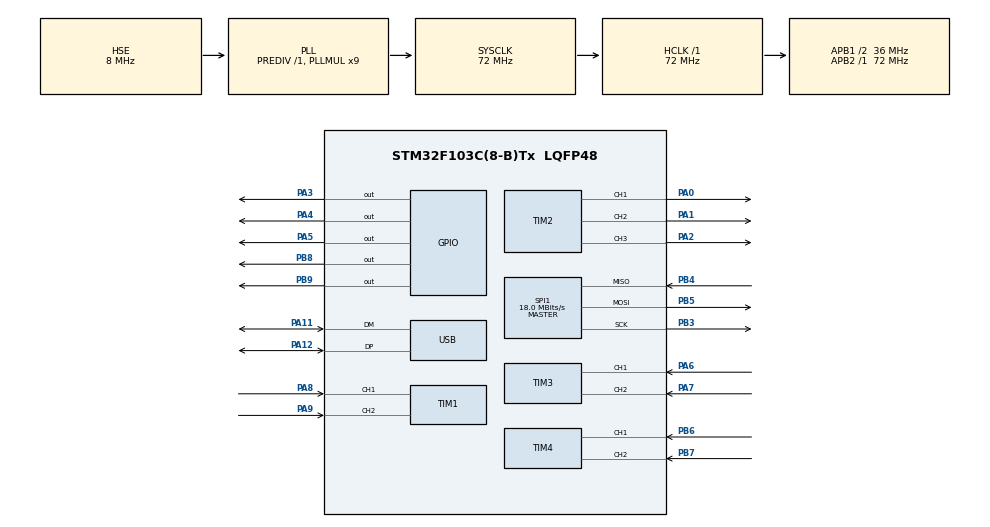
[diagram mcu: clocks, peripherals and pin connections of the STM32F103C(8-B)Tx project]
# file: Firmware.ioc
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Mcu.Family=STM32F1
Mcu.Name=STM32F103C(8-B)Tx
Mcu.Package=LQFP48
NVIC.PriorityGroup=NVIC_PRIORITYGROUP_4
NVIC.SPI1_IRQn=true\:0\:0\:false\:false\:true\:true\:true
NVIC.USB_LP_CAN1_RX0_IRQn=true\:0\:0\:false\:false\:true\:false\:true
PA0-WKUP.Signal=S_TIM2_CH1_ETR
PA1.Signal=S_TIM2_CH2
PA11.Mode=Device
PA11.Signal=USB_DM
PA12.Mode=Device
PA12.Signal=USB_DP
PA13.Mode=Serial_Wire
PA13.Signal=SYS_JTMS-SWDIO
PA14.Mode=Serial_Wire
PA14.Signal=SYS_JTCK-SWCLK
PA2.Signal=S_TIM2_CH3
PA3.Signal=GPIO_Output
PA4.Signal=GPIO_Output
PA5.Signal=GPIO_Output
PA6.Signal=S_TIM3_CH1
PA7.Signal=S_TIM3_CH2
PA8.Signal=S_TIM1_CH1
PA9.Signal=S_TIM1_CH2
PB3.Mode=Full_Duplex_Master
PB3.Signal=SPI1_SCK
PB4.Mode=Full_Duplex_Master
PB4.Signal=SPI1_MISO
PB5.Mode=Full_Duplex_Master
PB5.Signal=SPI1_MOSI
PB6.Signal=S_TIM4_CH1
PB7.Signal=S_TIM4_CH2
PB8.Signal=GPIO_Output
PB9.Signal=GPIO_Output
PD0-OSC_IN.Mode=HSE-External-Oscillator
PD0-OSC_IN.Signal=RCC_OSC_IN
PD1-OSC_OUT.Mode=HSE-External-Oscillator
PD1-OSC_OUT.Signal=RCC_OSC_OUT
ProjectManager.HeapSize=0x200
ProjectManager.StackSize=0x400
ProjectManager.TargetToolchain=Makefile
RCC.AHBFreq_Value=72000000
RCC.APB1CLKDivider=RCC_HCLK_DIV2
RCC.APB1Freq_Value=36000000
RCC.APB1TimFreq_Value=72000000
RCC.APB2Freq_Value=72000000
RCC.APB2TimFreq_Value=72000000
RCC.HCLKFreq_Value=72000000
RCC.PLLMUL=RCC_PLL_MUL9
RCC.PLLSourceVirtual=RCC_PLLSOURCE_HSE
RCC.SYSCLKFreq_VALUE=72000000
RCC.SYSCLKSource=RCC_SYSCLKSOURCE_PLLCLK
RCC.USBFreq_Value=48000000
RCC.USBPrescaler=RCC_USBCLKSOURCE_PLL_DIV1_5
SH.S_TIM1_CH1.0=TIM1_CH1,Encoder_Interface
SH.S_TIM1_CH2.0=TIM1_CH2,Encoder_Interface
SH.S_TIM2_CH1_ETR.0=TIM2_CH1,PWM Generation1 CH1
SH.S_TIM2_CH2.0=TIM2_CH2,PWM Generation2 CH2
SH.S_TIM2_CH3.0=TIM2_CH3,PWM Generation3 CH3
SH.S_TIM3_CH1.0=TIM3_CH1,Encoder_Interface
SH.S_TIM3_CH2.0=TIM3_CH2,Encoder_Interface
SH.S_TIM4_CH1.0=TIM4_CH1,Encoder_Interface
SH.S_TIM4_CH2.0=TIM4_CH2,Encoder_Interface
SPI1.BaudRatePrescaler=SPI_BAUDRATEPRESCALER_4
SPI1.CalculateBaudRate=18.0 MBits/s
SPI1.Direction=SPI_DIRECTION_2LINES
SPI1.Mode=SPI_MODE_MASTER
SPI1.VirtualType=VM_MASTER
TIM2.Channel-PWM\ Generation1\ CH1=TIM_CHANNEL_1
TIM2.Channel-PWM\ Generation2\ CH2=TIM_CHANNEL_2
TIM2.Channel-PWM\ Generation3\ CH3=TIM_CHANNEL_3
USB_DEVICE.APP_RX_DATA_SIZE=64
USB_DEVICE.APP_TX_DATA_SIZE=64
USB_DEVICE.CLASS_NAME_FS=CDC
USB_DEVICE.VirtualMode=Cdc
USB_DEVICE.VirtualModeFS=Cdc_FS
VP_TIM2_VS_ClockSourceINT.Mode=Internal
VP_USB_DEVICE_VS_USB_DEVICE_CDC_FS.Mode=CDC_FS
board=custom

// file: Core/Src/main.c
/* USER CODE BEGIN Header */
/**
  ******************************************************************************
  * @file           : main.c
  * @brief          : Main program body
  ******************************************************************************
  * @attention
  *
  * Copyright (c) 2023 STMicroelectronics.
  * All rights reserved.
  *
  * This software is licensed under terms that can be found in the LICENSE file
  * in the root directory of this software component.
  * If no LICENSE file comes with this software, it is provided AS-IS.
  *
  ******************************************************************************
  */
/* USER CODE END Header */
#include "main.h"
#include "usb_device.h"

/* USER CODE BEGIN Includes */
#include "auto_park.h"

/* USER CODE END Includes */

SPI_HandleTypeDef hspi1;

TIM_HandleTypeDef htim1;
TIM_HandleTypeDef htim2;
TIM_HandleTypeDef htim3;
TIM_HandleTypeDef htim4;

/* USER CODE BEGIN PV */
MACHINE machine;

/* USER CODE END PV */

void SystemClock_Config(void);
static void MX_GPIO_Init(void);
static void MX_TIM1_Init(void);
static void MX_TIM2_Init(void);
static void MX_TIM3_Init(void);
static void MX_TIM4_Init(void);
static void MX_SPI1_Init(void);
/* USER CODE BEGIN PFP */
void auto_park_init(void)
{
	// Init value for pid of motor
	machine.up.pid.kp = 1;
	machine.up.pid.ki = 0.001;
	machine.up.pid.kd = 0.1;
	machine.up.pid.ERROR = 2;

	machine.roll.pid.kp = 1;
	machine.roll.pid.ki = 0.001;
	machine.roll.pid.kd = 0.1;
	machine.roll.pid.ERROR = 2;

	machine.out.pid.kp = 1;
	machine.out.pid.ki = 0.001;
	machine.out.pid.kd = 0.1;
	machine.out.pid.ERROR = 2;

	// Init pin for motor

	// Init other value of machine
	machine.mode = 7; // mode go home when restart
}
/* USER CODE END PFP */

int main(void)
{

  /* MCU Configuration--------------------------------------------------------*/

  /* Reset of all peripherals, Initializes the Flash interface and the Systick. */
  HAL_Init();

  /* Configure the system clock */
  SystemClock_Config();

  /* Initialize all configured peripherals */
  MX_GPIO_Init();
  MX_TIM1_Init();
  MX_TIM2_Init();
  MX_TIM3_Init();
  MX_TIM4_Init();
  MX_SPI1_Init();
  MX_USB_DEVICE_Init();
  /* USER CODE BEGIN 2 */
  auto_park_init();

  /* USER CODE END 2 */

  /* Infinite loop */
  /* USER CODE BEGIN WHILE */
  while (1)
  {
	process_mode(&machine);
    /* USER CODE END WHILE */

  }
}

void SystemClock_Config(void)
{
  RCC_OscInitTypeDef RCC_OscInitStruct = {0};
  RCC_ClkInitTypeDef RCC_ClkInitStruct = {0};
  RCC_PeriphCLKInitTypeDef PeriphClkInit = {0};

  /** Initializes the RCC Oscillators according to the specified parameters
  * in the RCC_OscInitTypeDef structure.
  */
  RCC_OscInitStruct.OscillatorType = RCC_OSCILLATORTYPE_HSE;
  RCC_OscInitStruct.HSEState = RCC_HSE_ON;
  RCC_OscInitStruct.HSEPredivValue = RCC_HSE_PREDIV_DIV1;
  RCC_OscInitStruct.HSIState = RCC_HSI_ON;
  RCC_OscInitStruct.PLL.PLLState = RCC_PLL_ON;
  RCC_OscInitStruct.PLL.PLLSource = RCC_PLLSOURCE_HSE;
  RCC_OscInitStruct.PLL.PLLMUL = RCC_PLL_MUL9;
  if (HAL_RCC_OscConfig(&RCC_OscInitStruct) != HAL_OK)
  {
    Error_Handler();
  }
  /** Initializes the CPU, AHB and APB buses clocks
  */
  RCC_ClkInitStruct.ClockType = RCC_CLOCKTYPE_HCLK|RCC_CLOCKTYPE_SYSCLK
                              |RCC_CLOCKTYPE_PCLK1|RCC_CLOCKTYPE_PCLK2;
  RCC_ClkInitStruct.SYSCLKSource = RCC_SYSCLKSOURCE_PLLCLK;
  RCC_ClkInitStruct.AHBCLKDivider = RCC_SYSCLK_DIV1;
  RCC_ClkInitStruct.APB1CLKDivider = RCC_HCLK_DIV2;
  RCC_ClkInitStruct.APB2CLKDivider = RCC_HCLK_DIV1;

  if (HAL_RCC_ClockConfig(&RCC_ClkInitStruct, FLASH_LATENCY_2) != HAL_OK)
  {
    Error_Handler();
  }
  PeriphClkInit.PeriphClockSelection = RCC_PERIPHCLK_USB;
  PeriphClkInit.UsbClockSelection = RCC_USBCLKSOURCE_PLL_DIV1_5;
  if (HAL_RCCEx_PeriphCLKConfig(&PeriphClkInit) != HAL_OK)
  {
    Error_Handler();
  }
}

static void MX_SPI1_Init(void)
{

  /* SPI1 parameter configuration*/
  hspi1.Instance = SPI1;
  hspi1.Init.Mode = SPI_MODE_MASTER;
  hspi1.Init.Direction = SPI_DIRECTION_2LINES;
  hspi1.Init.DataSize = SPI_DATASIZE_8BIT;
  hspi1.Init.CLKPolarity = SPI_POLARITY_LOW;
  hspi1.Init.CLKPhase = SPI_PHASE_1EDGE;
  hspi1.Init.NSS = SPI_NSS_SOFT;
  hspi1.Init.BaudRatePrescaler = SPI_BAUDRATEPRESCALER_4;
  hspi1.Init.FirstBit = SPI_FIRSTBIT_MSB;
  hspi1.Init.TIMode = SPI_TIMODE_DISABLE;
  hspi1.Init.CRCCalculation = SPI_CRCCALCULATION_DISABLE;
  hspi1.Init.CRCPolynomial = 10;
  if (HAL_SPI_Init(&hspi1) != HAL_OK)
  {
    Error_Handler();
  }

}

static void MX_TIM1_Init(void)
{

  TIM_Encoder_InitTypeDef sConfig = {0};
  TIM_MasterConfigTypeDef sMasterConfig = {0};

  htim1.Instance = TIM1;
  htim1.Init.Prescaler = 0;
  htim1.Init.CounterMode = TIM_COUNTERMODE_UP;
  htim1.Init.Period = 65535;
  htim1.Init.ClockDivision = TIM_CLOCKDIVISION_DIV1;
  htim1.Init.RepetitionCounter = 0;
  htim1.Init.AutoReloadPreload = TIM_AUTORELOAD_PRELOAD_DISABLE;
  sConfig.EncoderMode = TIM_ENCODERMODE_TI1;
  sConfig.IC1Polarity = TIM_ICPOLARITY_RISING;
  sConfig.IC1Selection = TIM_ICSELECTION_DIRECTTI;
  sConfig.IC1Prescaler = TIM_ICPSC_DIV1;
  sConfig.IC1Filter = 0;
  sConfig.IC2Polarity = TIM_ICPOLARITY_RISING;
  sConfig.IC2Selection = TIM_ICSELECTION_DIRECTTI;
  sConfig.IC2Prescaler = TIM_ICPSC_DIV1;
  sConfig.IC2Filter = 0;
  if (HAL_TIM_Encoder_Init(&htim1, &sConfig) != HAL_OK)
  {
    Error_Handler();
  }
  sMasterConfig.MasterOutputTrigger = TIM_TRGO_RESET;
  sMasterConfig.MasterSlaveMode = TIM_MASTERSLAVEMODE_DISABLE;
  if (HAL_TIMEx_MasterConfigSynchronization(&htim1, &sMasterConfig) != HAL_OK)
  {
    Error_Handler();
  }

}

static void MX_TIM2_Init(void)
{

  TIM_ClockConfigTypeDef sClockSourceConfig = {0};
  TIM_MasterConfigTypeDef sMasterConfig = {0};
  TIM_OC_InitTypeDef sConfigOC = {0};

  htim2.Instance = TIM2;
  htim2.Init.Prescaler = 0;
  htim2.Init.CounterMode = TIM_COUNTERMODE_UP;
  htim2.Init.Period = 65535;
  htim2.Init.ClockDivision = TIM_CLOCKDIVISION_DIV1;
  htim2.Init.AutoReloadPreload = TIM_AUTORELOAD_PRELOAD_DISABLE;
  if (HAL_TIM_Base_Init(&htim2) != HAL_OK)
  {
    Error_Handler();
  }
  sClockSourceConfig.ClockSource = TIM_CLOCKSOURCE_INTERNAL;
  if (HAL_TIM_ConfigClockSource(&htim2, &sClockSourceConfig) != HAL_OK)
  {
    Error_Handler();
  }
  if (HAL_TIM_PWM_Init(&htim2) != HAL_OK)
  {
    Error_Handler();
  }
  sMasterConfig.MasterOutputTrigger = TIM_TRGO_RESET;
  sMasterConfig.MasterSlaveMode = TIM_MASTERSLAVEMODE_DISABLE;
  if (HAL_TIMEx_MasterConfigSynchronization(&htim2, &sMasterConfig) != HAL_OK)
  {
    Error_Handler();
  }
  sConfigOC.OCMode = TIM_OCMODE_PWM1;
  sConfigOC.Pulse = 0;
  sConfigOC.OCPolarity = TIM_OCPOLARITY_HIGH;
  sConfigOC.OCFastMode = TIM_OCFAST_DISABLE;
  if (HAL_TIM_PWM_ConfigChannel(&htim2, &sConfigOC, TIM_CHANNEL_1) != HAL_OK)
  {
    Error_Handler();
  }
  if (HAL_TIM_PWM_ConfigChannel(&htim2, &sConfigOC, TIM_CHANNEL_2) != HAL_OK)
  {
    Error_Handler();
  }
  if (HAL_TIM_PWM_ConfigChannel(&htim2, &sConfigOC, TIM_CHANNEL_3) != HAL_OK)
  {
    Error_Handler();
  }
  HAL_TIM_MspPostInit(&htim2);

}

static void MX_TIM3_Init(void)
{

  TIM_Encoder_InitTypeDef sConfig = {0};
  TIM_MasterConfigTypeDef sMasterConfig = {0};

  htim3.Instance = TIM3;
  htim3.Init.Prescaler = 0;
  htim3.Init.CounterMode = TIM_COUNTERMODE_UP;
  htim3.Init.Period = 65535;
  htim3.Init.ClockDivision = TIM_CLOCKDIVISION_DIV1;
  htim3.Init.AutoReloadPreload = TIM_AUTORELOAD_PRELOAD_DISABLE;
  sConfig.EncoderMode = TIM_ENCODERMODE_TI1;
  sConfig.IC1Polarity = TIM_ICPOLARITY_RISING;
  sConfig.IC1Selection = TIM_ICSELECTION_DIRECTTI;
  sConfig.IC1Prescaler = TIM_ICPSC_DIV1;
  sConfig.IC1Filter = 0;
  sConfig.IC2Polarity = TIM_ICPOLARITY_RISING;
  sConfig.IC2Selection = TIM_ICSELECTION_DIRECTTI;
  sConfig.IC2Prescaler = TIM_ICPSC_DIV1;
  sConfig.IC2Filter = 0;
  if (HAL_TIM_Encoder_Init(&htim3, &sConfig) != HAL_OK)
  {
    Error_Handler();
  }
  sMasterConfig.MasterOutputTrigger = TIM_TRGO_RESET;
  sMasterConfig.MasterSlaveMode = TIM_MASTERSLAVEMODE_DISABLE;
  if (HAL_TIMEx_MasterConfigSynchronization(&htim3, &sMasterConfig) != HAL_OK)
  {
    Error_Handler();
  }

}

static void MX_TIM4_Init(void)
{

  TIM_Encoder_InitTypeDef sConfig = {0};
  TIM_MasterConfigTypeDef sMasterConfig = {0};

  htim4.Instance = TIM4;
  htim4.Init.Prescaler = 0;
  htim4.Init.CounterMode = TIM_COUNTERMODE_UP;
  htim4.Init.Period = 65535;
  htim4.Init.ClockDivision = TIM_CLOCKDIVISION_DIV1;
  htim4.Init.AutoReloadPreload = TIM_AUTORELOAD_PRELOAD_DISABLE;
  sConfig.EncoderMode = TIM_ENCODERMODE_TI1;
  sConfig.IC1Polarity = TIM_ICPOLARITY_RISING;
  sConfig.IC1Selection = TIM_ICSELECTION_DIRECTTI;
  sConfig.IC1Prescaler = TIM_ICPSC_DIV1;
  sConfig.IC1Filter = 0;
  sConfig.IC2Polarity = TIM_ICPOLARITY_RISING;
  sConfig.IC2Selection = TIM_ICSELECTION_DIRECTTI;
  sConfig.IC2Prescaler = TIM_ICPSC_DIV1;
  sConfig.IC2Filter = 0;
  if (HAL_TIM_Encoder_Init(&htim4, &sConfig) != HAL_OK)
  {
    Error_Handler();
  }
  sMasterConfig.MasterOutputTrigger = TIM_TRGO_RESET;
  sMasterConfig.MasterSlaveMode = TIM_MASTERSLAVEMODE_DISABLE;
  if (HAL_TIMEx_MasterConfigSynchronization(&htim4, &sMasterConfig) != HAL_OK)
  {
    Error_Handler();
  }

}

static void MX_GPIO_Init(void)
{
  GPIO_InitTypeDef GPIO_InitStruct = {0};

  /* GPIO Ports Clock Enable */
  __HAL_RCC_GPIOD_CLK_ENABLE();
  __HAL_RCC_GPIOA_CLK_ENABLE();
  __HAL_RCC_GPIOB_CLK_ENABLE();

  /*Configure GPIO pin Output Level */
  HAL_GPIO_WritePin(GPIOA, GPIO_PIN_3|GPIO_PIN_4|GPIO_PIN_5, GPIO_PIN_RESET);

  /*Configure GPIO pin Output Level */
  HAL_GPIO_WritePin(GPIOB, GPIO_PIN_8|GPIO_PIN_9, GPIO_PIN_RESET);

  /*Configure GPIO pins : PA3 PA4 PA5 */
  GPIO_InitStruct.Pin = GPIO_PIN_3|GPIO_PIN_4|GPIO_PIN_5;
  GPIO_InitStruct.Mode = GPIO_MODE_OUTPUT_PP;
  GPIO_InitStruct.Pull = GPIO_NOPULL;
  GPIO_InitStruct.Speed = GPIO_SPEED_FREQ_LOW;
  HAL_GPIO_Init(GPIOA, &GPIO_InitStruct);

  /*Configure GPIO pins : PB8 PB9 */
  GPIO_InitStruct.Pin = GPIO_PIN_8|GPIO_PIN_9;
  GPIO_InitStruct.Mode = GPIO_MODE_OUTPUT_PP;
  GPIO_InitStruct.Pull = GPIO_NOPULL;
  GPIO_InitStruct.Speed = GPIO_SPEED_FREQ_LOW;
  HAL_GPIO_Init(GPIOB, &GPIO_InitStruct);

}

void Error_Handler(void)
{
  __disable_irq();
  while (1)
  {
  }
}

#ifdef  USE_FULL_ASSERT
/**
  * @brief  Reports the name of the source file and the source line number
  *         where the assert_param error has occurred.
  * @param  file: pointer to the source file name
  * @param  line: assert_param error line source number
  * @retval None
  */
void assert_failed(uint8_t *file, uint32_t line)
{
  /* USER CODE BEGIN 6 */
  /* User can add his own implementation to report the file name and line number,
   *  example: printf ("Wrong parameters value: file %s on line %d\r\n", file, line) */
  /* USER CODE END 6 */
}
#endif /* USE_FULL_ASSERT */
